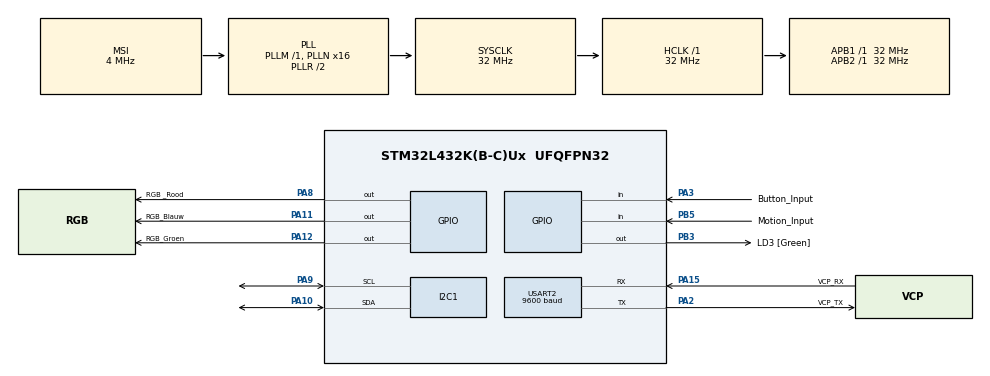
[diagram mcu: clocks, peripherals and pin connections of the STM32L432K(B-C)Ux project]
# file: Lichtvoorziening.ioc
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I2C1.I2C_Fall_Time=10
I2C1.Timing=0x20302E37
Mcu.Family=STM32L4
Mcu.Name=STM32L432K(B-C)Ux
Mcu.Package=UFQFPN32
NVIC.PriorityGroup=NVIC_PRIORITYGROUP_4
PA0.GPIO_Label=MCO [High speed clock in]
PA0.Mode=HSE-External-Clock-Source-for-LittleOrca
PA0.Signal=RCC_CK_IN
PA10.Mode=I2C
PA10.Signal=I2C1_SDA
PA11.GPIO_Label=RGB_Blauw
PA11.Signal=GPIO_Output
PA12.GPIO_Label=RGB_Groen
PA12.Signal=GPIO_Output
PA13\ (JTMS-SWDIO).GPIO_Label=SWDIO
PA13\ (JTMS-SWDIO).Mode=Serial_Wire
PA13\ (JTMS-SWDIO).Signal=SYS_JTMS-SWDIO
PA14\ (JTCK-SWCLK).GPIO_Label=SWCLK
PA14\ (JTCK-SWCLK).Mode=Serial_Wire
PA14\ (JTCK-SWCLK).Signal=SYS_JTCK-SWCLK
PA15\ (JTDI).GPIO_Label=VCP_RX
PA15\ (JTDI).Mode=Asynchronous
PA15\ (JTDI).Signal=USART2_RX
PA2.GPIO_Label=VCP_TX
PA2.Mode=Asynchronous
PA2.Signal=USART2_TX
PA3.GPIO_Label=Button_Input
PA3.GPIO_PuPd=GPIO_PULLUP
PA3.Signal=GPIO_Input
PA8.GPIO_Label=RGB _Rood
PA8.Signal=GPIO_Output
PA9.Mode=I2C
PA9.Signal=I2C1_SCL
PB3\ (JTDO-TRACESWO).GPIO_Label=LD3 [Green]
PB3\ (JTDO-TRACESWO).Signal=GPIO_Output
PB5.GPIO_Label=Motion_Input
PB5.Signal=GPIO_Input
PC14-OSC32_IN\ (PC14).Mode=LSE-External-Oscillator
PC14-OSC32_IN\ (PC14).Signal=RCC_OSC32_IN
PC15-OSC32_OUT\ (PC15).Mode=LSE-External-Oscillator
PC15-OSC32_OUT\ (PC15).Signal=RCC_OSC32_OUT
ProjectManager.HeapSize=0x200
ProjectManager.StackSize=0x400
ProjectManager.TargetToolchain=STM32CubeIDE
RCC.AHBFreq_Value=32000000
RCC.APB1Freq_Value=32000000
RCC.APB1TimFreq_Value=32000000
RCC.APB2Freq_Value=32000000
RCC.APB2TimFreq_Value=32000000
RCC.CortexFreq_Value=32000000
RCC.HCLKFreq_Value=32000000
RCC.HSE_VALUE=8000000
RCC.HSI16_VALUE=16000000
RCC.HSI48_VALUE=48000000
RCC.HSI_VALUE=16000000
RCC.MSI_VALUE=4000000
RCC.PLLMUL=RCC_PLLMUL_4
RCC.PLLN=16
RCC.SYSCLKFreq_VALUE=32000000
RCC.SYSCLKSource=RCC_SYSCLKSOURCE_PLLCLK
RCC.VCOOutputFreq_Value=64000000
USART2.BaudRate=9600
USART2.VirtualMode-Asynchronous=VM_ASYNC
board=NUCLEO-L432KC

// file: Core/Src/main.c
/* USER CODE BEGIN Header */
/**
  ******************************************************************************
  * @file           : main.c
  * @brief          : Main program body
  ******************************************************************************
  * @attention
  *
  * Copyright (c) 2026 STMicroelectronics.
  * All rights reserved.
  *
  * This software is licensed under terms that can be found in the LICENSE file
  * in the root directory of this software component.
  * If no LICENSE file comes with this software, it is provided AS-IS.
  *
  ******************************************************************************
  */
/* USER CODE END Header */
#include "main.h"

/* USER CODE BEGIN Includes */
#include <string.h>
#include <stdbool.h>
#include <stdio.h>
/* USER CODE END Includes */

I2C_HandleTypeDef hi2c1;

UART_HandleTypeDef huart2;

void SystemClock_Config(void);
static void MX_GPIO_Init(void);
static void MX_USART2_UART_Init(void);
static void MX_I2C1_Init(void);

/* USER CODE BEGIN 0 */
void SGP30_Init(void) {
    uint8_t cmd[2] = {0x20, 0x03};
    HAL_I2C_Master_Transmit(&hi2c1, 0x58 << 1, cmd, 2, HAL_MAX_DELAY);
    //for the first 15s after the “sgp30_iaq_init” command the sensor isin an initialization phase during which a “sgp30_measure_iaq” command returns fixed values of 400 ppm CO2eq and 0 ppb TVOC.
    HAL_Delay(15000);
}

uint16_t SGP30_ReadCO2(void) {
    uint8_t cmd[2] = {0x20, 0x08};
    HAL_I2C_Master_Transmit(&hi2c1, 0x58 << 1, cmd, 2, HAL_MAX_DELAY);
    HAL_Delay(12);

    uint8_t buf[6];
    HAL_I2C_Master_Receive(&hi2c1, 0x58 << 1, buf, 6, HAL_MAX_DELAY);

    return (buf[0] << 8) | buf[1];
}
/* USER CODE END 0 */

int main(void)
{

  /* MCU Configuration--------------------------------------------------------*/

  /* Reset of all peripherals, Initializes the Flash interface and the Systick. */
  HAL_Init();

  /* Configure the system clock */
  SystemClock_Config();

  /* Initialize all configured peripherals */
  MX_GPIO_Init();
  MX_I2C1_Init();       // eerst I2C
  MX_USART2_UART_Init(); // dan UART
  /* USER CODE BEGIN 2 */
  char test[] = "STM32 gestart!\r\n";
  HAL_UART_Transmit(&huart2, (uint8_t*)test, strlen(test), 1000);
  SGP30_Init();
  /* USER CODE END 2 */

  /* Infinite loop */
  /* USER CODE BEGIN WHILE */
  char Beweging [] = "Beweging gedetecteerd, Verlichting gaat aan! \r\n";
  while (1)
  {
	  uint16_t eco2 = SGP30_ReadCO2();

	  char msg[64];
	  sprintf(msg, "eCO2: %d ppm\r\n", eco2);
	  HAL_UART_Transmit(&huart2, (uint8_t*)msg, strlen(msg), HAL_MAX_DELAY);

//	    if (HAL_GPIO_ReadPin(GPIOB, Motion_Input_Pin))
//	    {
//	        HAL_GPIO_WritePin(GPIOA, RGB_Groen_Pin, GPIO_PIN_SET);
//	        HAL_UART_Transmit(&huart2, (uint8_t*)Beweging, strlen(Beweging), strlen(Beweging));
//	        HAL_Delay(5000);
//	        HAL_GPIO_WritePin(GPIOA, RGB_Groen_Pin, GPIO_PIN_RESET);
//	    }
	  if(HAL_GPIO_ReadPin(GPIOA, Button_Input_Pin) == GPIO_PIN_RESET){
		  HAL_UART_Transmit(&huart2, (uint8_t*)Beweging, strlen(Beweging), strlen(Beweging));
		  HAL_GPIO_WritePin(GPIOA, RGB_Groen_Pin, GPIO_PIN_SET);
		  //HAL_GPIO_WritePin(GPIOA, RGB_Blauw_Pin, GPIO_PIN_SET);
		  //HAL_GPIO_WritePin(GPIOA,RGB__Rood_Pin, GPIO_PIN_SET);
		  HAL_Delay(5000);
		  //HAL_GPIO_WritePin(GPIOA, RGB__Rood_Pin, GPIO_PIN_RESET);
		  //HAL_GPIO_WritePin(GPIOA, RGB_Blauw_Pin, GPIO_PIN_RESET);
		  HAL_GPIO_WritePin(GPIOA, RGB_Groen_Pin, GPIO_PIN_RESET);
		  HAL_Delay(1000);
	  }
    /* USER CODE END WHILE */

  }
}

void SystemClock_Config(void)
{
  RCC_OscInitTypeDef RCC_OscInitStruct = {0};
  RCC_ClkInitTypeDef RCC_ClkInitStruct = {0};

  /** Configure the main internal regulator output voltage
  */
  if (HAL_PWREx_ControlVoltageScaling(PWR_REGULATOR_VOLTAGE_SCALE1) != HAL_OK)
  {
    Error_Handler();
  }

  /** Configure LSE Drive Capability
  */
  HAL_PWR_EnableBkUpAccess();
  __HAL_RCC_LSEDRIVE_CONFIG(RCC_LSEDRIVE_LOW);

  /** Initializes the RCC Oscillators according to the specified parameters
  * in the RCC_OscInitTypeDef structure.
  */
  RCC_OscInitStruct.OscillatorType = RCC_OSCILLATORTYPE_LSE|RCC_OSCILLATORTYPE_MSI;
  RCC_OscInitStruct.LSEState = RCC_LSE_ON;
  RCC_OscInitStruct.MSIState = RCC_MSI_ON;
  RCC_OscInitStruct.MSICalibrationValue = 0;
  RCC_OscInitStruct.MSIClockRange = RCC_MSIRANGE_6;
  RCC_OscInitStruct.PLL.PLLState = RCC_PLL_ON;
  RCC_OscInitStruct.PLL.PLLSource = RCC_PLLSOURCE_MSI;
  RCC_OscInitStruct.PLL.PLLM = 1;
  RCC_OscInitStruct.PLL.PLLN = 16;
  RCC_OscInitStruct.PLL.PLLP = RCC_PLLP_DIV7;
  RCC_OscInitStruct.PLL.PLLQ = RCC_PLLQ_DIV2;
  RCC_OscInitStruct.PLL.PLLR = RCC_PLLR_DIV2;
  if (HAL_RCC_OscConfig(&RCC_OscInitStruct) != HAL_OK)
  {
    Error_Handler();
  }

  /** Initializes the CPU, AHB and APB buses clocks
  */
  RCC_ClkInitStruct.ClockType = RCC_CLOCKTYPE_HCLK|RCC_CLOCKTYPE_SYSCLK
                              |RCC_CLOCKTYPE_PCLK1|RCC_CLOCKTYPE_PCLK2;
  RCC_ClkInitStruct.SYSCLKSource = RCC_SYSCLKSOURCE_PLLCLK;
  RCC_ClkInitStruct.AHBCLKDivider = RCC_SYSCLK_DIV1;
  RCC_ClkInitStruct.APB1CLKDivider = RCC_HCLK_DIV1;
  RCC_ClkInitStruct.APB2CLKDivider = RCC_HCLK_DIV1;

  if (HAL_RCC_ClockConfig(&RCC_ClkInitStruct, FLASH_LATENCY_1) != HAL_OK)
  {
    Error_Handler();
  }

  /** Enable MSI Auto calibration
  */
  HAL_RCCEx_EnableMSIPLLMode();
}

static void MX_I2C1_Init(void)
{

  hi2c1.Instance = I2C1;
  hi2c1.Init.Timing = 0x20302E37;
  hi2c1.Init.OwnAddress1 = 0;
  hi2c1.Init.AddressingMode = I2C_ADDRESSINGMODE_7BIT;
  hi2c1.Init.DualAddressMode = I2C_DUALADDRESS_DISABLE;
  hi2c1.Init.OwnAddress2 = 0;
  hi2c1.Init.OwnAddress2Masks = I2C_OA2_NOMASK;
  hi2c1.Init.GeneralCallMode = I2C_GENERALCALL_DISABLE;
  hi2c1.Init.NoStretchMode = I2C_NOSTRETCH_DISABLE;
  if (HAL_I2C_Init(&hi2c1) != HAL_OK)
  {
    Error_Handler();
  }

  /** Configure Analogue filter
  */
  if (HAL_I2CEx_ConfigAnalogFilter(&hi2c1, I2C_ANALOGFILTER_ENABLE) != HAL_OK)
  {
    Error_Handler();
  }

  /** Configure Digital filter
  */
  if (HAL_I2CEx_ConfigDigitalFilter(&hi2c1, 0) != HAL_OK)
  {
    Error_Handler();
  }

}

static void MX_USART2_UART_Init(void)
{

  huart2.Instance = USART2;
  huart2.Init.BaudRate = 9600;
  huart2.Init.WordLength = UART_WORDLENGTH_8B;
  huart2.Init.StopBits = UART_STOPBITS_1;
  huart2.Init.Parity = UART_PARITY_NONE;
  huart2.Init.Mode = UART_MODE_TX_RX;
  huart2.Init.HwFlowCtl = UART_HWCONTROL_NONE;
  huart2.Init.OverSampling = UART_OVERSAMPLING_16;
  huart2.Init.OneBitSampling = UART_ONE_BIT_SAMPLE_DISABLE;
  huart2.AdvancedInit.AdvFeatureInit = UART_ADVFEATURE_NO_INIT;
  if (HAL_UART_Init(&huart2) != HAL_OK)
  {
    Error_Handler();
  }

}

static void MX_GPIO_Init(void)
{
  GPIO_InitTypeDef GPIO_InitStruct = {0};

  /* GPIO Ports Clock Enable */
  __HAL_RCC_GPIOC_CLK_ENABLE();
  __HAL_RCC_GPIOA_CLK_ENABLE();
  __HAL_RCC_GPIOB_CLK_ENABLE();

  /*Configure GPIO pin Output Level */
  HAL_GPIO_WritePin(GPIOA, RGB__Rood_Pin|RGB_Blauw_Pin|RGB_Groen_Pin, GPIO_PIN_RESET);

  /*Configure GPIO pin Output Level */
  HAL_GPIO_WritePin(LD3_GPIO_Port, LD3_Pin, GPIO_PIN_RESET);

  /*Configure GPIO pin : Button_Input_Pin */
  GPIO_InitStruct.Pin = Button_Input_Pin;
  GPIO_InitStruct.Mode = GPIO_MODE_INPUT;
  GPIO_InitStruct.Pull = GPIO_PULLUP;
  HAL_GPIO_Init(Button_Input_GPIO_Port, &GPIO_InitStruct);

  /*Configure GPIO pins : RGB__Rood_Pin RGB_Blauw_Pin RGB_Groen_Pin */
  GPIO_InitStruct.Pin = RGB__Rood_Pin|RGB_Blauw_Pin|RGB_Groen_Pin;
  GPIO_InitStruct.Mode = GPIO_MODE_OUTPUT_PP;
  GPIO_InitStruct.Pull = GPIO_NOPULL;
  GPIO_InitStruct.Speed = GPIO_SPEED_FREQ_LOW;
  HAL_GPIO_Init(GPIOA, &GPIO_InitStruct);

  /*Configure GPIO pin : LD3_Pin */
  GPIO_InitStruct.Pin = LD3_Pin;
  GPIO_InitStruct.Mode = GPIO_MODE_OUTPUT_PP;
  GPIO_InitStruct.Pull = GPIO_NOPULL;
  GPIO_InitStruct.Speed = GPIO_SPEED_FREQ_LOW;
  HAL_GPIO_Init(LD3_GPIO_Port, &GPIO_InitStruct);

  /*Configure GPIO pin : Motion_Input_Pin */
  GPIO_InitStruct.Pin = Motion_Input_Pin;
  GPIO_InitStruct.Mode = GPIO_MODE_INPUT;
  GPIO_InitStruct.Pull = GPIO_NOPULL;
  HAL_GPIO_Init(Motion_Input_GPIO_Port, &GPIO_InitStruct);

}

void Error_Handler(void)
{
  __disable_irq();
  while (1)
  {
  }
}
